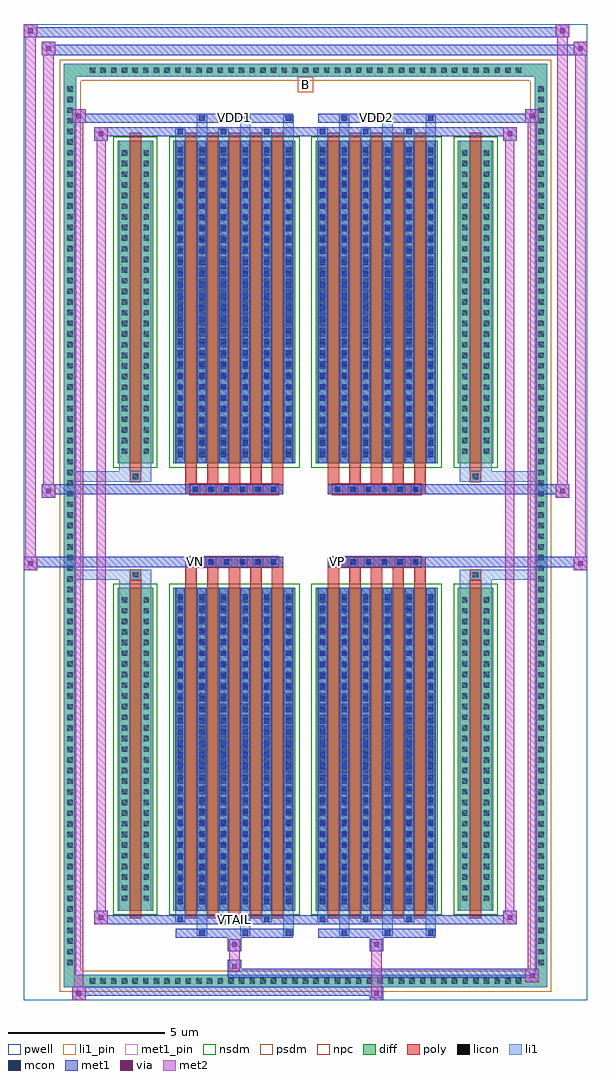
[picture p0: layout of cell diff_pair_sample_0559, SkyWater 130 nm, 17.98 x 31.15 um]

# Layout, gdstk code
import gdstk
lib = gdstk.Library(unit=1e-6, precision=5e-09)
def R(c, l, rs):  # rectangles x0, y0, x1, y1
    for r in rs: c.add(gdstk.rectangle(r[:2], r[2:], *l))
def A(c, l, x, y, w, h, nx, ny, dx, dy):  # array of equal rectangles
    R(c, l, [(x+i*dx, y+j*dy, x+i*dx+w, y+j*dy+h) for i in range(nx) for j in range(ny)])
def P(c, l, *ps):  # polygons
    for p in ps: c.add(gdstk.Polygon(p, *l))
pwell = (64, 44)
diff = (65, 20)
poly = (66, 20)
licon = (66, 44)
li1_pin = (67, 16)
li1 = (67, 20)
mcon = (67, 44)
met1_pin = (68, 16)
met1 = (68, 20)
via = (68, 44)
met2 = (69, 20)
nsdm = (93, 44)
psdm = (94, 20)
npc = (95, 20)

diff_pair_sample_0559 = lib.new_cell('diff_pair_sample_0559')
R(diff_pair_sample_0559, pwell, [(-8.99,-15.14,8.99,16.01), (-6.31,-13.33,-0.01,-0.795), (0.01,-13.33,6.31,-0.795), (-6.31,0.795,-0.01,13.33), (0.01,0.795,6.31,13.33)])
A(diff_pair_sample_0559, diff, -7.005, -14.74, 0.41, 0.41, 41, 2, 0.34, 29.07)
A(diff_pair_sample_0559, diff, -7.72, -14.145, 0.41, 0.41, 1, 83, 0, 0.34)
A(diff_pair_sample_0559, diff, 7.31, -14.145, 0.41, 0.41, 1, 83, 0, 0.34)
R(diff_pair_sample_0559, diff, [(-7.005,-14.74,7.005,-14.33), (-7.72,-14.145,-7.31,14.145), (7.31,-14.145,7.72,14.145), (-6,-12.285,-4.86,-1.985), (-4.22,-12.285,-0.32,-1.985), (0.32,-12.285,4.22,-1.985), (4.86,-12.285,6,-1.985), (-6,1.985,-4.86,12.285), (-4.22,1.985,-0.32,12.285), (0.32,1.985,4.22,12.285), (4.86,1.985,6,12.285), (-7.005,14.33,7.005,14.74)])
P(diff_pair_sample_0559, diff, [(7.72,14.74),(-7.72,14.74),(-7.72,-14.33),(-7.31,-14.33),(-7.31,14.33),(7.31,14.33),(7.31,-14.33),(-7.31,-14.33),(-7.72,-14.33),(-7.72,-14.74),(7.72,-14.74)])
A(diff_pair_sample_0559, poly, -3.83, -12.535, 0.36, 10.8, 5, 2, 0.69, 14.27)
A(diff_pair_sample_0559, poly, 0.71, -12.535, 0.36, 10.8, 5, 2, 0.69, 14.27)
A(diff_pair_sample_0559, poly, -3.83, -1.735, 0.36, 0.41, 5, 2, 0.69, 3.06)
A(diff_pair_sample_0559, poly, 0.71, -1.735, 0.36, 0.41, 5, 2, 0.69, 3.06)
A(diff_pair_sample_0559, poly, -3.685, -1.325, 0.33, 0.33, 6, 2, 0.5, 2.32)
A(diff_pair_sample_0559, poly, 0.855, -1.325, 0.33, 0.33, 6, 2, 0.5, 2.32)
R(diff_pair_sample_0559, poly, [(-5.61,-12.535,-5.25,-1.735), (5.25,-12.535,5.61,-1.735), (-5.595,-1.735,-5.265,-1.405), (-5.595,-1.735,-5.265,-1.405), (5.265,-1.735,5.595,-1.405), (5.265,-1.735,5.595,-1.405), (-3.83,-1.325,-0.71,-0.995), (0.71,-1.325,3.83,-0.995), (-3.83,0.995,-0.71,1.325), (0.71,0.995,3.83,1.325), (-5.595,1.405,-5.265,1.735), (-5.595,1.405,-5.265,1.735), (5.265,1.405,5.595,1.735), (5.265,1.405,5.595,1.735), (-5.61,1.735,-5.25,12.535), (5.25,1.735,5.61,12.535)])
A(diff_pair_sample_0559, licon, -6.885, -14.62, 0.17, 0.17, 41, 2, 0.34, 29.07)
A(diff_pair_sample_0559, licon, -7.6, -14.025, 0.17, 0.17, 1, 83, 0, 0.34)
A(diff_pair_sample_0559, licon, 7.43, -14.025, 0.17, 0.17, 1, 83, 0, 0.34)
A(diff_pair_sample_0559, licon, -5.86, -11.98, 0.17, 0.17, 1, 29, 0, 0.34)
A(diff_pair_sample_0559, licon, -5.17, -11.98, 0.17, 0.17, 1, 29, 0, 0.34)
A(diff_pair_sample_0559, licon, -4.08, -11.98, 0.17, 0.17, 6, 29, 0.69, 0.34)
A(diff_pair_sample_0559, licon, 0.46, -11.98, 0.17, 0.17, 6, 29, 0.69, 0.34)
A(diff_pair_sample_0559, licon, 5, -11.98, 0.17, 0.17, 1, 29, 0, 0.34)
A(diff_pair_sample_0559, licon, 5.69, -11.98, 0.17, 0.17, 1, 29, 0, 0.34)
A(diff_pair_sample_0559, licon, -3.605, -1.245, 0.17, 0.17, 6, 2, 0.5, 2.32)
A(diff_pair_sample_0559, licon, 0.935, -1.245, 0.17, 0.17, 6, 2, 0.5, 2.32)
A(diff_pair_sample_0559, licon, -5.86, 2.29, 0.17, 0.17, 1, 29, 0, 0.34)
A(diff_pair_sample_0559, licon, -5.17, 2.29, 0.17, 0.17, 1, 29, 0, 0.34)
A(diff_pair_sample_0559, licon, -4.08, 2.29, 0.17, 0.17, 6, 29, 0.69, 0.34)
A(diff_pair_sample_0559, licon, 0.46, 2.29, 0.17, 0.17, 6, 29, 0.69, 0.34)
A(diff_pair_sample_0559, licon, 5, 2.29, 0.17, 0.17, 1, 29, 0, 0.34)
A(diff_pair_sample_0559, licon, 5.69, 2.29, 0.17, 0.17, 1, 29, 0, 0.34)
R(diff_pair_sample_0559, licon, [(-5.515,-1.655,-5.345,-1.485), (5.345,-1.655,5.515,-1.485), (-5.515,1.485,-5.345,1.655), (5.345,1.485,5.515,1.655)])
R(diff_pair_sample_0559, li1_pin, [(-0.25,13.83,0.25,14.33)])
A(diff_pair_sample_0559, li1, -6.965, -14.7, 0.33, 0.33, 41, 2, 0.34, 29.07)
A(diff_pair_sample_0559, li1, -7.68, -14.105, 0.33, 0.33, 1, 83, 0, 0.34)
A(diff_pair_sample_0559, li1, 7.35, -14.105, 0.33, 0.33, 1, 83, 0, 0.34)
A(diff_pair_sample_0559, li1, -3.47, -13.09, 0.33, 0.805, 3, 2, 1.38, 25.375)
A(diff_pair_sample_0559, li1, -3.39, -13.09, 0.17, 0.17, 3, 2, 1.38, 26.01)
A(diff_pair_sample_0559, li1, 1.07, -13.09, 0.33, 0.805, 3, 2, 1.38, 25.375)
A(diff_pair_sample_0559, li1, 1.15, -13.09, 0.17, 0.17, 3, 2, 1.38, 26.01)
A(diff_pair_sample_0559, li1, -4.16, -12.66, 0.33, 0.375, 3, 2, 1.38, 24.945)
A(diff_pair_sample_0559, li1, -4.08, -12.66, 0.17, 0.17, 3, 2, 1.38, 25.15)
A(diff_pair_sample_0559, li1, 0.38, -12.66, 0.33, 0.375, 3, 2, 1.38, 24.945)
A(diff_pair_sample_0559, li1, 0.46, -12.66, 0.17, 0.17, 3, 2, 1.38, 25.15)
A(diff_pair_sample_0559, li1, -4.16, -12.285, 0.33, 10.3, 6, 2, 0.69, 14.27)
A(diff_pair_sample_0559, li1, 0.38, -12.285, 0.33, 10.3, 6, 2, 0.69, 14.27)
A(diff_pair_sample_0559, li1, -4.08, -12.08, 0.17, 0.17, 6, 28, 0.69, 0.36)
A(diff_pair_sample_0559, li1, -4.08, -12.08, 0.17, 9.89, 6, 2, 0.69, 14.27)
A(diff_pair_sample_0559, li1, 0.46, -12.08, 0.17, 0.17, 6, 28, 0.69, 0.36)
A(diff_pair_sample_0559, li1, 0.46, -12.08, 0.17, 9.89, 6, 2, 0.69, 14.27)
A(diff_pair_sample_0559, li1, -5.94, -12.06, 0.33, 0.33, 1, 29, 0, 0.34)
A(diff_pair_sample_0559, li1, -5.25, -12.06, 0.33, 0.33, 1, 29, 0, 0.34)
A(diff_pair_sample_0559, li1, -4.16, -12.06, 0.33, 0.33, 6, 29, 0.69, 0.34)
A(diff_pair_sample_0559, li1, 0.38, -12.06, 0.33, 0.33, 6, 29, 0.69, 0.34)
A(diff_pair_sample_0559, li1, 4.92, -12.06, 0.33, 0.33, 1, 29, 0, 0.34)
A(diff_pair_sample_0559, li1, 5.61, -12.06, 0.33, 0.33, 1, 29, 0, 0.34)
A(diff_pair_sample_0559, li1, -3.685, -1.325, 0.33, 0.33, 6, 2, 0.5, 2.32)
A(diff_pair_sample_0559, li1, 0.855, -1.325, 0.33, 0.33, 6, 2, 0.5, 2.32)
A(diff_pair_sample_0559, li1, -4.08, 2.19, 0.17, 0.17, 6, 28, 0.69, 0.36)
A(diff_pair_sample_0559, li1, 0.46, 2.19, 0.17, 0.17, 6, 28, 0.69, 0.36)
A(diff_pair_sample_0559, li1, -5.94, 2.21, 0.33, 0.33, 1, 29, 0, 0.34)
A(diff_pair_sample_0559, li1, -5.25, 2.21, 0.33, 0.33, 1, 29, 0, 0.34)
A(diff_pair_sample_0559, li1, -4.16, 2.21, 0.33, 0.33, 6, 29, 0.69, 0.34)
A(diff_pair_sample_0559, li1, 0.38, 2.21, 0.33, 0.33, 6, 29, 0.69, 0.34)
A(diff_pair_sample_0559, li1, 4.92, 2.21, 0.33, 0.33, 1, 29, 0, 0.34)
A(diff_pair_sample_0559, li1, 5.61, 2.21, 0.33, 0.33, 1, 29, 0, 0.34)
R(diff_pair_sample_0559, li1, [(-7.72,-14.74,-7.31,-14.33), (-7.72,-14.74,-7.31,-14.33), (-7.31,-14.74,7.31,-14.33), (7.31,-14.74,7.72,-14.33), (7.31,-14.74,7.72,-14.33), (-7.72,-14.33,-7.31,14.33), (7.31,-14.33,7.72,14.33), (-5.94,-12.285,-5.61,-1.985), (-5.25,-12.285,-4.92,-1.985), (4.92,-12.285,5.25,-1.985), (5.61,-12.285,5.94,-1.985), (-5.94,-1.985,-5.61,-1.405), (-5.25,-1.985,-4.92,-1.405), (4.92,-1.985,5.25,-1.405), (5.61,-1.985,5.94,-1.405), (-7.72,-1.735,-5.595,-1.405), (-5.94,-1.735,-5.595,-1.405), (-5.595,-1.735,-5.265,-1.405), (-5.265,-1.735,-4.92,-1.405), (4.92,-1.735,5.265,-1.405), (5.265,-1.735,5.595,-1.405), (5.265,-1.735,7.72,-1.405), (5.595,-1.735,5.94,-1.405), (-7.72,1.405,-5.595,1.735), (-5.94,1.405,-5.595,1.735), (-5.94,1.405,-5.61,1.985), (-5.595,1.405,-5.265,1.735), (-5.265,1.405,-4.92,1.735), (-5.25,1.405,-4.92,1.985), (4.92,1.405,5.265,1.735), (4.92,1.405,5.25,1.985), (5.265,1.405,5.595,1.735), (5.265,1.405,7.72,1.735), (5.595,1.405,5.94,1.735), (5.61,1.405,5.94,1.985), (-5.94,1.985,-5.61,12.285), (-5.25,1.985,-4.92,12.285), (4.92,1.985,5.25,12.285), (5.61,1.985,5.94,12.285), (-7.72,14.33,-7.31,14.74), (-7.72,14.33,-7.31,14.74), (-7.31,14.33,7.31,14.74), (7.31,14.33,7.72,14.74), (7.31,14.33,7.72,14.74)])
A(diff_pair_sample_0559, mcon, -3.39, -13.09, 0.17, 0.17, 3, 2, 1.38, 26.01)
A(diff_pair_sample_0559, mcon, 1.15, -13.09, 0.17, 0.17, 3, 2, 1.38, 26.01)
A(diff_pair_sample_0559, mcon, -4.08, -12.66, 0.17, 0.17, 3, 2, 1.38, 25.15)
A(diff_pair_sample_0559, mcon, 0.46, -12.66, 0.17, 0.17, 3, 2, 1.38, 25.15)
A(diff_pair_sample_0559, mcon, -4.08, -12.08, 0.17, 0.17, 6, 28, 0.69, 0.36)
A(diff_pair_sample_0559, mcon, 0.46, -12.08, 0.17, 0.17, 6, 28, 0.69, 0.36)
A(diff_pair_sample_0559, mcon, -3.605, -1.245, 0.17, 0.17, 6, 2, 0.5, 2.32)
A(diff_pair_sample_0559, mcon, 0.935, -1.245, 0.17, 0.17, 6, 2, 0.5, 2.32)
A(diff_pair_sample_0559, mcon, -4.08, 2.19, 0.17, 0.17, 6, 28, 0.69, 0.36)
A(diff_pair_sample_0559, mcon, 0.46, 2.19, 0.17, 0.17, 6, 28, 0.69, 0.36)
R(diff_pair_sample_0559, met1_pin, [(-2.405,-12.7,-2.135,-12.43), (-3.655,-1.285,-3.385,-1.015), (0.885,-1.285,1.155,-1.015), (-2.405,12.88,-2.135,13.15), (2.135,12.88,2.405,13.15)])
A(diff_pair_sample_0559, met1, -3.45, -13.15, 0.29, 0.29, 3, 2, 1.38, 26.01)
A(diff_pair_sample_0559, met1, 1.09, -13.15, 0.29, 0.29, 3, 2, 1.38, 26.01)
A(diff_pair_sample_0559, met1, -4.14, -12.72, 0.29, 0.29, 3, 2, 1.38, 25.15)
A(diff_pair_sample_0559, met1, 0.4, -12.72, 0.29, 0.29, 3, 2, 1.38, 25.15)
A(diff_pair_sample_0559, met1, -4.14, -12.285, 0.29, 10.3, 6, 2, 0.69, 14.27)
A(diff_pair_sample_0559, met1, 0.4, -12.285, 0.29, 10.3, 6, 2, 0.69, 14.27)
A(diff_pair_sample_0559, met1, -4.14, -12.14, 0.29, 0.29, 6, 28, 0.69, 0.36)
A(diff_pair_sample_0559, met1, 0.4, -12.14, 0.29, 0.29, 6, 28, 0.69, 0.36)
A(diff_pair_sample_0559, met1, -3.665, -1.305, 0.29, 0.29, 6, 2, 0.5, 2.32)
A(diff_pair_sample_0559, met1, 0.875, -1.305, 0.29, 0.29, 6, 2, 0.5, 2.32)
A(diff_pair_sample_0559, met1, -4.14, 2.13, 0.29, 0.29, 6, 28, 0.69, 0.36)
A(diff_pair_sample_0559, met1, 0.4, 2.13, 0.29, 0.29, 6, 28, 0.69, 0.36)
R(diff_pair_sample_0559, met1, [(-7.45,-15.14,-7.02,-14.71), (2.055,-15.14,2.485,-14.71), (-7.45,-15,2.485,-14.71), (7.02,-14.57,7.45,-14.14), (-2.485,-14.43,7.45,-14.14), (-2.485,-14.29,-2.055,-13.86), (-2.485,-13.58,-2.055,-13.15), (2.055,-13.58,2.485,-13.15), (-4.14,-13.15,-0.4,-12.86), (0.4,-13.15,4.14,-12.86), (-6.74,-12.72,-6.31,-12.29), (-6.74,-12.72,-4.14,-12.43), (-4.14,-12.72,-0.4,-12.43), (-0.4,-12.72,0.4,-12.43), (0.4,-12.72,4.14,-12.43), (4.14,-12.72,6.74,-12.43), (6.31,-12.72,6.74,-12.29), (-8.99,-1.425,-8.56,-0.995), (8.56,-1.425,8.99,-0.995), (-8.99,-1.325,-0.71,-0.995), (-3.83,-1.325,-0.71,-0.995), (0.71,-1.325,3.83,-0.995), (0.71,-1.325,8.99,-0.995), (-8.42,0.895,-7.99,1.325), (7.99,0.895,8.42,1.325), (-8.42,0.995,-3.83,1.325), (-3.83,0.995,-0.71,1.325), (0.71,0.995,3.83,1.325), (3.83,0.995,8.42,1.325), (-6.74,12.29,-6.31,12.72), (6.31,12.29,6.74,12.72), (-6.74,12.43,-4.14,12.72), (-4.14,12.43,-0.4,12.72), (-0.4,12.43,0.4,12.72), (0.4,12.43,4.14,12.72), (4.14,12.43,6.74,12.72), (-7.45,12.86,-7.02,13.29), (-7.45,12.86,-4.14,13.15), (-4.14,12.86,-0.4,13.15), (0.4,12.86,4.14,13.15), (4.14,12.86,7.45,13.15), (7.02,12.86,7.45,13.29), (-8.42,15.01,-7.99,15.44), (-8.42,15.01,-6.31,15.34), (-6.31,15.01,6.31,15.34), (6.31,15.01,8.99,15.34), (8.56,15.01,8.99,15.44), (-8.99,15.58,-8.56,16.01), (-8.99,15.58,-6.31,15.91), (-6.31,15.58,6.31,15.91), (6.31,15.58,8.42,15.91), (7.99,15.58,8.42,16.01)])
R(diff_pair_sample_0559, via, [(-7.31,-15,-7.16,-14.85), (2.195,-15,2.345,-14.85), (7.16,-14.43,7.31,-14.28), (-2.345,-14.15,-2.195,-14), (-2.345,-13.44,-2.195,-13.29), (2.195,-13.44,2.345,-13.29), (-6.6,-12.58,-6.45,-12.43), (6.45,-12.58,6.6,-12.43), (-8.85,-1.285,-8.7,-1.135), (8.7,-1.285,8.85,-1.135), (-8.28,1.035,-8.13,1.185), (8.13,1.035,8.28,1.185), (-6.6,12.43,-6.45,12.58), (6.45,12.43,6.6,12.58), (-7.31,13,-7.16,13.15), (7.16,13,7.31,13.15), (-8.28,15.15,-8.13,15.3), (8.7,15.15,8.85,15.3), (-8.85,15.72,-8.7,15.87), (8.13,15.72,8.28,15.87)])
R(diff_pair_sample_0559, met2, [(-7.45,-15.14,-7.02,-14.71), (-7.38,-15.14,-7.09,13.29), (-7.09,-15.14,-7.02,-14.71), (-7.4,-15.09,-7.07,-14.76), (2.105,-15.09,2.435,-14.76), (2.105,-14.76,2.435,-13.53), (7.02,-14.57,7.45,-14.14), (7.09,-14.57,7.38,13.29), (7.38,-14.57,7.45,-14.14), (7.07,-14.52,7.4,-14.19), (-2.435,-14.24,-2.105,-13.91), (-2.435,-13.91,-2.105,-13.53), (-2.435,-13.53,-2.105,-13.2), (2.105,-13.53,2.435,-13.2), (-6.74,-12.72,-6.31,-12.29), (-6.67,-12.72,-6.38,12.72), (-6.38,-12.72,-6.31,-12.29), (6.31,-12.72,6.74,-12.29), (6.38,-12.72,6.67,12.72), (6.67,-12.72,6.74,-12.29), (-6.69,-12.67,-6.36,-12.34), (6.36,-12.67,6.69,-12.34), (-8.99,-1.425,-8.56,-0.995), (-8.94,-1.425,-8.61,16.01), (-8.61,-1.425,-8.56,-0.995), (8.56,-1.425,8.99,-0.995), (8.61,-1.425,8.94,15.44), (8.94,-1.425,8.99,-0.995), (-8.94,-1.375,-8.61,-1.045), (8.61,-1.375,8.94,-1.045), (-8.42,0.895,-7.99,1.325), (-8.37,0.895,-8.04,15.44), (-8.04,0.895,-7.99,1.325), (7.99,0.895,8.42,1.325), (8.04,0.895,8.37,16.01), (8.37,0.895,8.42,1.325), (-8.37,0.945,-8.04,1.275), (8.04,0.945,8.37,1.275), (-6.74,12.29,-6.31,12.72), (-6.38,12.29,-6.31,12.72), (6.31,12.29,6.74,12.72), (6.67,12.29,6.74,12.72), (-6.69,12.34,-6.36,12.67), (6.36,12.34,6.69,12.67), (-7.45,12.86,-7.02,13.29), (-7.09,12.86,-7.02,13.29), (7.02,12.86,7.45,13.29), (7.38,12.86,7.45,13.29), (-7.4,12.91,-7.07,13.24), (7.07,12.91,7.4,13.24), (-8.42,15.01,-7.99,15.44), (-8.04,15.01,-7.99,15.44), (8.56,15.01,8.99,15.44), (8.94,15.01,8.99,15.44), (-8.37,15.06,-8.04,15.39), (8.61,15.06,8.94,15.39), (-8.99,15.58,-8.56,16.01), (-8.61,15.58,-8.56,16.01), (7.99,15.58,8.42,16.01), (8.37,15.58,8.42,16.01), (-8.94,15.63,-8.61,15.96), (8.04,15.63,8.37,15.96)])
R(diff_pair_sample_0559, nsdm, [(-6.13,-12.415,-4.73,-1.855), (-4.35,-12.415,-0.19,-1.855), (0.19,-12.415,4.35,-1.855), (4.73,-12.415,6.13,-1.855), (-6.13,1.855,-4.73,12.415), (-4.35,1.855,-0.19,12.415), (0.19,1.855,4.35,12.415), (4.73,1.855,6.13,12.415)])
P(diff_pair_sample_0559, psdm, [(7.85,14.87),(-7.85,14.87),(-7.85,-14.2),(-7.18,-14.2),(-7.18,14.2),(7.18,14.2),(7.18,-14.2),(-7.18,-14.2),(-7.85,-14.2),(-7.85,-14.87),(7.85,-14.87)])
A(diff_pair_sample_0559, npc, -3.705, -1.345, 0.37, 0.37, 6, 2, 0.5, 2.32)
A(diff_pair_sample_0559, npc, 0.835, -1.345, 0.37, 0.37, 6, 2, 0.5, 2.32)
R(diff_pair_sample_0559, npc, [(-5.615,-1.755,-5.245,-1.385), (5.245,-1.755,5.615,-1.385), (-3.705,-1.345,-2.835,-0.975), (-3.705,-1.345,-2.835,-0.975), (-3.205,-1.345,-2.335,-0.975), (-3.205,-1.345,-2.335,-0.975), (-2.705,-1.345,-1.835,-0.975), (-2.705,-1.345,-1.835,-0.975), (-2.205,-1.345,-1.335,-0.975), (-2.205,-1.345,-1.335,-0.975), (-1.705,-1.345,-0.835,-0.975), (-1.705,-1.345,-0.835,-0.975), (0.835,-1.345,1.705,-0.975), (0.835,-1.345,1.705,-0.975), (1.335,-1.345,2.205,-0.975), (1.335,-1.345,2.205,-0.975), (1.835,-1.345,2.705,-0.975), (1.835,-1.345,2.705,-0.975), (2.335,-1.345,3.205,-0.975), (2.335,-1.345,3.205,-0.975), (2.835,-1.345,3.705,-0.975), (2.835,-1.345,3.705,-0.975), (-3.705,0.975,-2.835,1.345), (-3.705,0.975,-2.835,1.345), (-3.205,0.975,-2.335,1.345), (-3.205,0.975,-2.335,1.345), (-2.705,0.975,-1.835,1.345), (-2.705,0.975,-1.835,1.345), (-2.205,0.975,-1.335,1.345), (-2.205,0.975,-1.335,1.345), (-1.705,0.975,-0.835,1.345), (-1.705,0.975,-0.835,1.345), (0.835,0.975,1.705,1.345), (0.835,0.975,1.705,1.345), (1.335,0.975,2.205,1.345), (1.335,0.975,2.205,1.345), (1.835,0.975,2.705,1.345), (1.835,0.975,2.705,1.345), (2.335,0.975,3.205,1.345), (2.335,0.975,3.205,1.345), (2.835,0.975,3.705,1.345), (2.835,0.975,3.705,1.345), (-5.615,1.385,-5.245,1.755), (5.245,1.385,5.615,1.755)])
diff_pair_sample_0559.add(gdstk.Label('VTAIL', (-2.27,-12.565), layer=68, texttype=5))
diff_pair_sample_0559.add(gdstk.Label('VN', (-3.52,-1.15), layer=68, texttype=5))
diff_pair_sample_0559.add(gdstk.Label('VP', (1.02,-1.15), layer=68, texttype=5))
diff_pair_sample_0559.add(gdstk.Label('B', (0,14.08), layer=67, texttype=5))
diff_pair_sample_0559.add(gdstk.Label('VDD2', (2.27,13.015), layer=68, texttype=5))
diff_pair_sample_0559.add(gdstk.Label('VDD1', (-2.27,13.015), layer=68, texttype=5))

lib.write_gds('diff_pair_sample_0559.gds')
